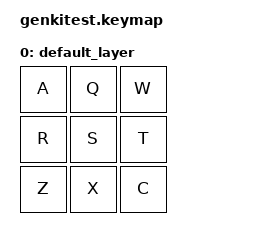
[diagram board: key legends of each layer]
/*
 * Copyright (c) 2020 The ZMK Contributors
 *
 * SPDX-License-Identifier: MIT
 */

#include <behaviors.dtsi>
#include <dt-bindings/zmk/bt.h>
#include <dt-bindings/zmk/keys.h>

/ {
    keymap {
        compatible = "zmk,keymap";

        default_layer {
            bindings = <
    &kp A   &kp Q &kp W 
    &kp R   &kp S &kp T 
    &kp Z   &kp X &kp C 
    
            >;

        };
    };
};

